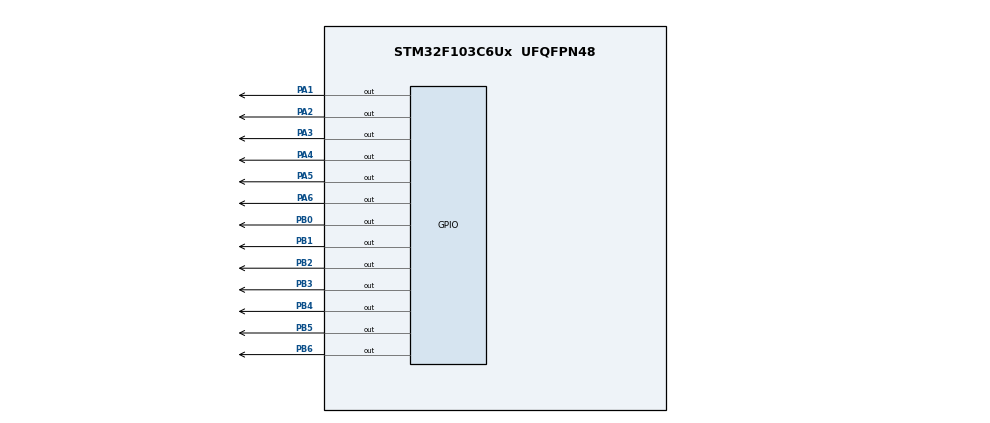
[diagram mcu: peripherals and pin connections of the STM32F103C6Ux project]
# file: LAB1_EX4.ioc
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Mcu.Family=STM32F1
Mcu.Name=STM32F103C6Ux
Mcu.Package=UFQFPN48
NVIC.PriorityGroup=NVIC_PRIORITYGROUP_4
PA1.Signal=GPIO_Output
PA2.Signal=GPIO_Output
PA3.Signal=GPIO_Output
PA4.Signal=GPIO_Output
PA5.Signal=GPIO_Output
PA6.Signal=GPIO_Output
PB0.Signal=GPIO_Output
PB1.Signal=GPIO_Output
PB2.Signal=GPIO_Output
PB3.Signal=GPIO_Output
PB4.Signal=GPIO_Output
PB5.Signal=GPIO_Output
PB6.Signal=GPIO_Output
ProjectManager.HeapSize=0x200
ProjectManager.StackSize=0x400
ProjectManager.TargetToolchain=STM32CubeIDE
RCC.APB1Freq_Value=8000000
RCC.APB2Freq_Value=8000000
VP_SYS_VS_ND.Mode=No_Debug
board=custom

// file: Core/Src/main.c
/* USER CODE BEGIN Header */
/**
  ******************************************************************************
  * @file           : main.c
  * @brief          : Main program body
  ******************************************************************************
  * @attention
  *
  * <h2><center>&copy; Copyright (c) 2025 STMicroelectronics.
  * All rights reserved.</center></h2>
  *
  * This software component is licensed by ST under BSD 3-Clause license,
  * the "License"; You may not use this file except in compliance with the
  * License. You may obtain a copy of the License at:
  *                        opensource.org/licenses/BSD-3-Clause
  *
  ******************************************************************************
  */
/* USER CODE END Header */
#include "main.h"

void SystemClock_Config(void);
static void MX_GPIO_Init(void);

int main(void)
{

  /* MCU Configuration--------------------------------------------------------*/

  /* Reset of all peripherals, Initializes the Flash interface and the Systick. */
  HAL_Init();

  /* Configure the system clock */
  SystemClock_Config();

  /* Initialize all configured peripherals */
  MX_GPIO_Init();

  /* Infinite loop */
  /* USER CODE BEGIN WHILE */

  void display7SEG(int num)
  {
      const uint8_t seg_table[10][7] = {
          {0,0,0,0,0,0,1},
          {1,0,0,1,1,1,1},
          {0,0,1,0,0,1,0},
          {0,0,0,0,1,1,0},
          {1,0,0,1,1,0,0},
          {0,1,0,0,1,0,0},
          {0,1,0,0,0,0,0},
          {0,0,0,1,1,1,1},
          {0,0,0,0,0,0,0},
          {0,0,0,0,1,0,0}
      };

      HAL_GPIO_WritePin(GPIOB, GPIO_PIN_0, seg_table[num][0] ? GPIO_PIN_SET : GPIO_PIN_RESET);
      HAL_GPIO_WritePin(GPIOB, GPIO_PIN_1, seg_table[num][1] ? GPIO_PIN_SET : GPIO_PIN_RESET);
      HAL_GPIO_WritePin(GPIOB, GPIO_PIN_2, seg_table[num][2] ? GPIO_PIN_SET : GPIO_PIN_RESET);
      HAL_GPIO_WritePin(GPIOB, GPIO_PIN_3, seg_table[num][3] ? GPIO_PIN_SET : GPIO_PIN_RESET);
      HAL_GPIO_WritePin(GPIOB, GPIO_PIN_4, seg_table[num][4] ? GPIO_PIN_SET : GPIO_PIN_RESET);
      HAL_GPIO_WritePin(GPIOB, GPIO_PIN_5, seg_table[num][5] ? GPIO_PIN_SET : GPIO_PIN_RESET);
      HAL_GPIO_WritePin(GPIOB, GPIO_PIN_6, seg_table[num][6] ? GPIO_PIN_SET : GPIO_PIN_RESET);
  }

  int counter = 0;

  while (1)
  {
	    HAL_GPIO_WritePin(GPIOA, GPIO_PIN_1|GPIO_PIN_2, GPIO_PIN_SET);
	    HAL_GPIO_WritePin(GPIOA, GPIO_PIN_3, GPIO_PIN_RESET);
	    HAL_GPIO_WritePin(GPIOA, GPIO_PIN_4, GPIO_PIN_RESET);
	    HAL_GPIO_WritePin(GPIOA, GPIO_PIN_5|GPIO_PIN_6, GPIO_PIN_SET);
	    for (int i = 0; i < 3; i++) {
	        display7SEG(counter++);
	        if (counter >= 10) counter = 0;
	        HAL_Delay(1000);
	    }

	    HAL_GPIO_WritePin(GPIOA, GPIO_PIN_1|GPIO_PIN_3, GPIO_PIN_SET);
	    HAL_GPIO_WritePin(GPIOA, GPIO_PIN_2, GPIO_PIN_RESET);
	    HAL_GPIO_WritePin(GPIOA, GPIO_PIN_4, GPIO_PIN_RESET);
	    HAL_GPIO_WritePin(GPIOA, GPIO_PIN_5|GPIO_PIN_6, GPIO_PIN_SET);
	    for (int i = 0; i < 2; i++) {
	        display7SEG(counter++);
	        if (counter >= 10) counter = 0;
	        HAL_Delay(1000);
	    }

	    HAL_GPIO_WritePin(GPIOA, GPIO_PIN_1, GPIO_PIN_RESET);
	    HAL_GPIO_WritePin(GPIOA, GPIO_PIN_2|GPIO_PIN_3, GPIO_PIN_SET);
	    HAL_GPIO_WritePin(GPIOA, GPIO_PIN_4|GPIO_PIN_5, GPIO_PIN_SET);
	    HAL_GPIO_WritePin(GPIOA, GPIO_PIN_6, GPIO_PIN_RESET);
	    for (int i = 0; i < 3; i++) {
	        display7SEG(counter++);
	        if (counter >= 10) counter = 0;
	        HAL_Delay(1000);
	    }

	    HAL_GPIO_WritePin(GPIOA, GPIO_PIN_1, GPIO_PIN_RESET);
	    HAL_GPIO_WritePin(GPIOA, GPIO_PIN_2|GPIO_PIN_3, GPIO_PIN_SET);
	    HAL_GPIO_WritePin(GPIOA, GPIO_PIN_4|GPIO_PIN_6, GPIO_PIN_SET);
	    HAL_GPIO_WritePin(GPIOA, GPIO_PIN_5, GPIO_PIN_RESET);
	    for (int i = 0; i < 2; i++) {
	        display7SEG(counter++);
	        if (counter >= 10) counter = 0;
	        HAL_Delay(1000);
	    }
    /* USER CODE END WHILE */

  }
}

void SystemClock_Config(void)
{
  RCC_OscInitTypeDef RCC_OscInitStruct = {0};
  RCC_ClkInitTypeDef RCC_ClkInitStruct = {0};

  /** Initializes the RCC Oscillators according to the specified parameters
  * in the RCC_OscInitTypeDef structure.
  */
  RCC_OscInitStruct.OscillatorType = RCC_OSCILLATORTYPE_HSI;
  RCC_OscInitStruct.HSIState = RCC_HSI_ON;
  RCC_OscInitStruct.HSICalibrationValue = RCC_HSICALIBRATION_DEFAULT;
  RCC_OscInitStruct.PLL.PLLState = RCC_PLL_NONE;
  if (HAL_RCC_OscConfig(&RCC_OscInitStruct) != HAL_OK)
  {
    Error_Handler();
  }
  /** Initializes the CPU, AHB and APB buses clocks
  */
  RCC_ClkInitStruct.ClockType = RCC_CLOCKTYPE_HCLK|RCC_CLOCKTYPE_SYSCLK
                              |RCC_CLOCKTYPE_PCLK1|RCC_CLOCKTYPE_PCLK2;
  RCC_ClkInitStruct.SYSCLKSource = RCC_SYSCLKSOURCE_HSI;
  RCC_ClkInitStruct.AHBCLKDivider = RCC_SYSCLK_DIV1;
  RCC_ClkInitStruct.APB1CLKDivider = RCC_HCLK_DIV1;
  RCC_ClkInitStruct.APB2CLKDivider = RCC_HCLK_DIV1;

  if (HAL_RCC_ClockConfig(&RCC_ClkInitStruct, FLASH_LATENCY_0) != HAL_OK)
  {
    Error_Handler();
  }
}

static void MX_GPIO_Init(void)
{
  GPIO_InitTypeDef GPIO_InitStruct = {0};

  /* GPIO Ports Clock Enable */
  __HAL_RCC_GPIOA_CLK_ENABLE();
  __HAL_RCC_GPIOB_CLK_ENABLE();

  /*Configure GPIO pin Output Level */
  HAL_GPIO_WritePin(GPIOA, GPIO_PIN_1|GPIO_PIN_2|GPIO_PIN_3|GPIO_PIN_4
                          |GPIO_PIN_5|GPIO_PIN_6, GPIO_PIN_RESET);

  /*Configure GPIO pin Output Level */
  HAL_GPIO_WritePin(GPIOB, GPIO_PIN_0|GPIO_PIN_1|GPIO_PIN_2|GPIO_PIN_3
                          |GPIO_PIN_4|GPIO_PIN_5|GPIO_PIN_6, GPIO_PIN_RESET);

  /*Configure GPIO pins : PA1 PA2 PA3 PA4
                           PA5 PA6 */
  GPIO_InitStruct.Pin = GPIO_PIN_1|GPIO_PIN_2|GPIO_PIN_3|GPIO_PIN_4
                          |GPIO_PIN_5|GPIO_PIN_6;
  GPIO_InitStruct.Mode = GPIO_MODE_OUTPUT_PP;
  GPIO_InitStruct.Pull = GPIO_NOPULL;
  GPIO_InitStruct.Speed = GPIO_SPEED_FREQ_LOW;
  HAL_GPIO_Init(GPIOA, &GPIO_InitStruct);

  /*Configure GPIO pins : PB0 PB1 PB2 PB3
                           PB4 PB5 PB6 */
  GPIO_InitStruct.Pin = GPIO_PIN_0|GPIO_PIN_1|GPIO_PIN_2|GPIO_PIN_3
                          |GPIO_PIN_4|GPIO_PIN_5|GPIO_PIN_6;
  GPIO_InitStruct.Mode = GPIO_MODE_OUTPUT_PP;
  GPIO_InitStruct.Pull = GPIO_NOPULL;
  GPIO_InitStruct.Speed = GPIO_SPEED_FREQ_LOW;
  HAL_GPIO_Init(GPIOB, &GPIO_InitStruct);

}

void Error_Handler(void)
{
  __disable_irq();
  while (1)
  {
  }
}

/************************ (C) COPYRIGHT STMicroelectronics *****END OF FILE****/
